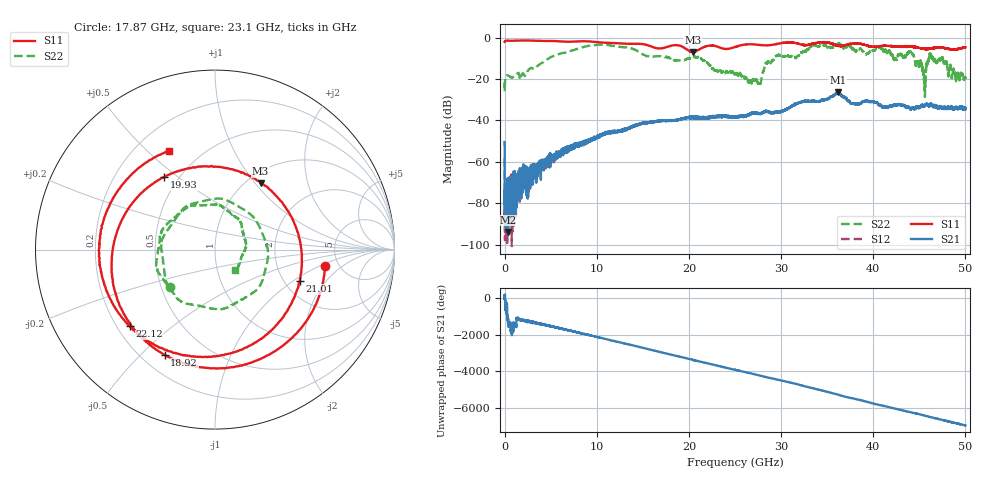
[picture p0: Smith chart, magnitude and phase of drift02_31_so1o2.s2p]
!Created with skrf (http://scikit-rf.org).
# Hz S RI R 50.0
!freq ReS11 ImS11 ReS21 ImS21 ReS12 ImS12 ReS22 ImS22
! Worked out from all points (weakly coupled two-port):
!   10001 points, 300 kHz to 50 GHz, reference 50 ohm
!   highest |S21| = -26.25 dB at 36.14 GHz (marker M1); lowest = -93.9 dB at 385.3 MHz (marker M2)
!   lowest |S11| = -7.0 dB at 20.43 GHz (marker M3), VSWR 2.63, Z = 57.5 + j53.4 ohm
!   |S11| at or under -10 dB: nowhere
!   |S22| runs from -28.7 to -2.5 dB; largest |S21 - S12| = 0.0049
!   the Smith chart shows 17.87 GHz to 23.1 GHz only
!   S11 on the Smith chart (normalised r, x): 17.87 GHz: 3.89, -1.16; 18.92 GHz: 0.29, -0.59; 19.93 GHz: 0.42, +0.45; 21.01 GHz: 2.42, -1.13; 22.12 GHz: 0.25, -0.36; 23.1 GHz: 0.34, +0.59
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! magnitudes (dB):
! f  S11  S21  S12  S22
! 300 kHz  -2.1  -50.5  -58.2  -21.6
! 255.3 MHz  -1.4  -77.6  -71.5  -18.2
! 385.3 MHz  -1.4  -93.9  -82.7  -18.3
! 8.335 GHz  -1.7  -50.8  -51.7  -4.8
! 16.67 GHz  -5.2  -40.1  -40.3  -9.0
! 17.87 GHz  -4.2  -40.2  -40.1  -9.7
! 18.92 GHz  -3.7  -39.7  -39.7  -10.9
! 19.93 GHz  -6.1  -38.5  -38.6  -9.9
! 20.43 GHz  -7.0  -38.4  -38.2  -9.8
! 21.01 GHz  -6.0  -38.5  -38.6  -9.4
! 22.12 GHz  -3.9  -38.6  -39.0  -12.7
! 23.1 GHz  -4.3  -38.0  -38.1  -16.0
! 25 GHz  -4.5  -38.6  -38.2  -17.5
! 27.62 GHz  -3.5  -36.8  -36.6  -21.8
! 29.55 GHz  -3.1  -35.5  -36.2  -8.8
! 33.34 GHz  -3.0  -30.5  -30.6  -3.8
! 36.14 GHz  -3.9  -26.3  -27.0  -3.3
! 41.67 GHz  -4.0  -33.4  -33.4  -6.3
! 44.13 GHz  -4.2  -34.4  -34.6  -7.1
! 45.5 GHz  -5.4  -33.0  -33.2  -18.8
! 46.28 GHz  -5.3  -32.1  -32.3  -8.7
! 50 GHz  -4.7  -33.9  -34.4  -19.2
